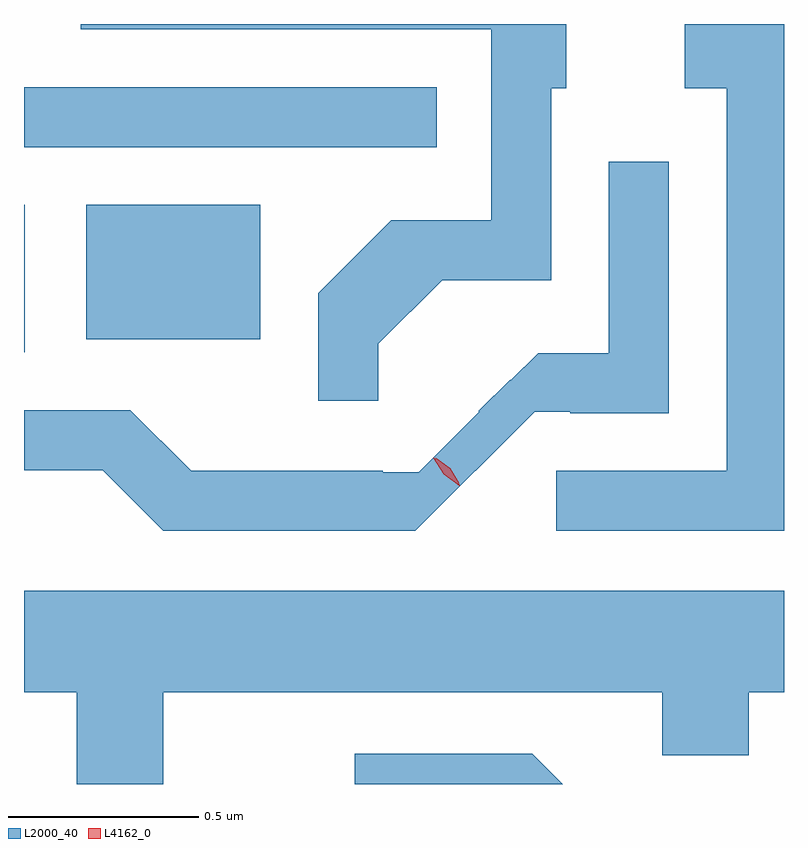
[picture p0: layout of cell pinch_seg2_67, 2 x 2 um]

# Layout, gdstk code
import gdstk
lib = gdstk.Library(unit=1e-6, precision=1e-09)
def R(c, l, rs):  # rectangles x0, y0, x1, y1
    for r in rs: c.add(gdstk.rectangle(r[:2], r[2:], *l))
def P(c, l, *ps):  # polygons
    for p in ps: c.add(gdstk.Polygon(p, *l))
L2000_40 = (2000, 40)
L4162_0 = (4162, 0)

pinch_seg2_67 = lib.new_cell('pinch_seg2_67')
R(pinch_seg2_67, L2000_40, [(1218.682,1058.091,1218.684,1058.479), (1218.846,1058.126,1219.304,1058.479), (1218.682,1058.631,1219.768,1058.789)])
P(pinch_seg2_67, L2000_40, [(1219.614,1058.114),(1219.782,1058.281),(1220.069,1058.281),(1220.069,1058.786),(1220.109,1058.786),(1220.109,1058.955),(1218.831,1058.955),(1218.831,1058.941),(1219.911,1058.941),(1219.911,1058.439),(1219.649,1058.439),(1219.456,1058.247),(1219.456,1057.963),(1219.614,1057.963)],
  [(1220.682,1058.955),(1220.421,1058.955),(1220.421,1058.786),(1220.531,1058.786),(1220.531,1057.779),(1220.083,1057.779),(1220.083,1057.621),(1220.682,1057.621)],
  [(1220.026,1057.935),(1220.12,1057.935),(1220.12,1057.931),(1220.379,1057.931),(1220.379,1058.593),(1220.221,1058.593),(1220.221,1058.089),(1220.035,1058.089),(1219.963,1058.017),(1219.961,1058.019),(1219.878,1057.936),(1219.88,1057.934),(1219.721,1057.775),(1219.626,1057.775),(1219.626,1057.779),(1219.122,1057.779),(1218.962,1057.939),(1218.682,1057.939),(1218.682,1057.781),(1218.889,1057.781),(1219.049,1057.621),(1219.712,1057.621)],
  [(1219.049,1057.196),(1220.361,1057.196),(1220.361,1057.031),(1220.589,1057.031),(1220.589,1057.196),(1220.682,1057.196),(1220.682,1057.464),(1218.682,1057.464),(1218.682,1057.196),(1218.821,1057.196),(1218.821,1056.955),(1219.049,1056.955)],
  [(1220.02,1057.034),(1219.553,1057.034),(1219.553,1056.955),(1220.1,1056.955)])
P(pinch_seg2_67, L4162_0, [(1219.828,1057.74),(1219.787,1057.77),(1219.759,1057.813),(1219.759,1057.814),(1219.76,1057.814),(1219.801,1057.784),(1219.829,1057.741),(1219.829,1057.74)],
  [(1219.828,1057.746),(1219.79,1057.773),(1219.765,1057.812),(1219.765,1057.813),(1219.766,1057.813),(1219.804,1057.786),(1219.828,1057.747),(1219.828,1057.746)])

lib.write_gds('pinch_seg2_67.gds')
